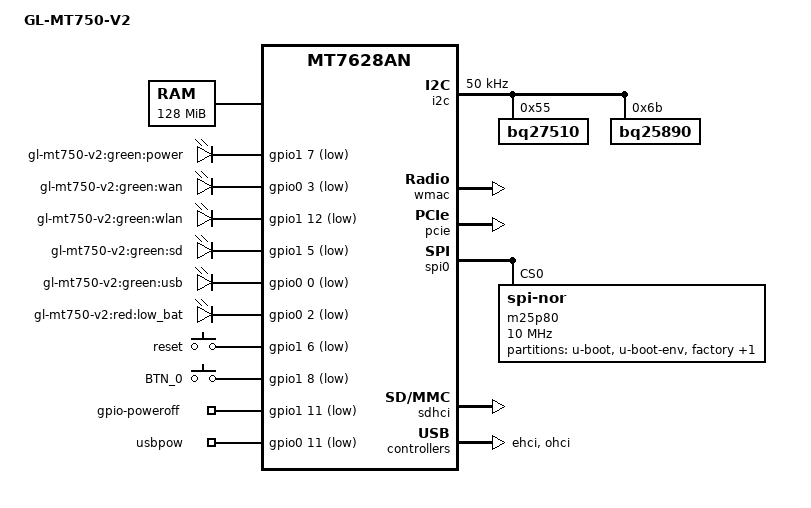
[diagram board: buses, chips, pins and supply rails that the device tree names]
/dts-v1/;

#include "mt7628an.dtsi"

#include <dt-bindings/gpio/gpio.h>
#include <dt-bindings/input/input.h>

/{
	compatible = "gl-inet,gl-mt750-v2", "ralink,mt7628an-soc";
	model = "GL-MT750-V2";

	chosen {
		bootargs = "console=ttyS0,115200";
	};

	memory@0 {
		device_type = "memory";
		reg = <0x0 0x8000000>;
	};

	gpio-leds {
		compatible = "gpio-leds";

		power {
			label = "gl-mt750-v2:green:power";
			default-state = "on";
			gpios = <&gpio1 7 GPIO_ACTIVE_LOW>;
		};

		wan {
			label = "gl-mt750-v2:green:wan";
			gpios = <&gpio0 3 GPIO_ACTIVE_LOW>;
		};

		wlan {
			label = "gl-mt750-v2:green:wlan";
			gpios = <&gpio1 12 GPIO_ACTIVE_LOW>;
		};

		sd {
			label = "gl-mt750-v2:green:sd";
			default-state = "on";
			gpios = <&gpio1 5 GPIO_ACTIVE_LOW>;
		};

		usb {
			label = "gl-mt750-v2:green:usb";
			gpios = <&gpio0 0 GPIO_ACTIVE_LOW>;
		};

		low_bat {
			label = "gl-mt750-v2:red:low_bat";
			gpios = <&gpio0 2 GPIO_ACTIVE_LOW>;
		};
	};

	gpio-keys {
		compatible = "gpio-keys-polled";
		#address-cells = <1>;
		#size-cells = <0>;
		poll-interval = <20>;

		reset {
			label = "reset";
			gpios = <&gpio1 6 GPIO_ACTIVE_LOW>;
			linux,code = <KEY_RESTART>;
		};

		BTN_0 {
			label = "BTN_0";
			gpios = <&gpio1 8 GPIO_ACTIVE_LOW>;
			linux,code = <BTN_0>;
		};
	};

	gpio-poweroff {
		compatible = "gpio-poweroff";
		gpios = <&gpio1 11 GPIO_ACTIVE_LOW>;
	};

	gpio_export {
		compatible = "gpio-export";
		#size-cells = <0>;

		usbpow {
			gpio-export,name = "usbpow";
			gpio-export,output = <1>;
			gpios = <&gpio0 11 GPIO_ACTIVE_LOW>;
		};
	};
};

&pinctrl {
	state_default: pinctrl0 {
		gpio {
			ralink,group = "i2s", "perst", "gpio", "wled_an", "p0led_an","p1led_an", "p2led_an", "p3led_an", "p4led_an";
			ralink,function = "gpio";
		};
	};
};

&i2c {
	status = "okay";

	clock-frequency = <50000>;

	bq27510@55 {
		compatible = "bq27510";
		reg = <0x55>;
	};

	bq25890@6b {
		compatible = "bq25890";
		reg = <0x6b>;
	};
};

&ethernet {
	mtd-mac-address = <&factory 0x4>;
};

&wmac {
	status = "okay";

	mtd-mac-address = <&factory 0x4>;
	mediatek,mtd-eeprom = <&factory 0x0000>;
};

&pcie {
	status = "okay";

	pcie-bridge {
		mtd-mac-address = <&factory 0x8004>;
		mediatek,mtd-eeprom = <&factory 0x8000>;
	};
};

&spi0 {
	status = "okay";

	m25p80@0 {
		#address-cells = <1>;
		#size-cells = <1>;
		compatible = "jedec,spi-nor";
		reg = <0>;
		spi-max-frequency = <10000000>;
		m25p,chunked-io = <32>;

		partition@0 {
			label = "u-boot";
			reg = <0x0 0x30000>;
		};

		partition@30000 {
			label = "u-boot-env";
			reg = <0x30000 0x10000>;
		};

		factory: partition@40000 {
			label = "factory";
			reg = <0x40000 0x10000>;
		};

		partition@50000 {
			label = "firmware";
			reg = <0x50000 0xfb0000>;
		};
	};
};

&sdhci {
	status = "okay";
};

&ehci {
	status = "okay";
};

&ohci {
	status = "okay";
};

&esw {
	mediatek,portmap = "wllll";
};
